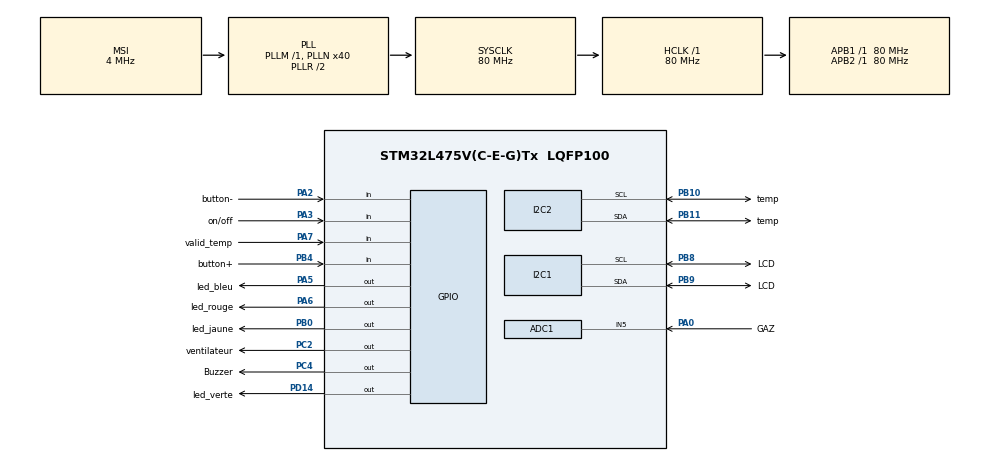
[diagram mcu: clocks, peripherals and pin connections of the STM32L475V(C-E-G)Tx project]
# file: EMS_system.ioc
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ADC1.Channel-0\#ChannelRegularConversion=ADC_CHANNEL_5
ADC1.NbrOfConversionFlag=1
ADC1.OffsetNumber-0\#ChannelRegularConversion=ADC_OFFSET_NONE
ADC1.Rank-0\#ChannelRegularConversion=1
ADC1.SamplingTime-0\#ChannelRegularConversion=ADC_SAMPLETIME_2CYCLES_5
ADC1.master=1
I2C1.Timing=0x10D19CE4
I2C2.Timing=0x10D19CE4
Mcu.Family=STM32L4
Mcu.Name=STM32L475V(C-E-G)Tx
Mcu.Package=LQFP100
NVIC.PriorityGroup=NVIC_PRIORITYGROUP_4
PA0.GPIO_Label=GAZ
PA0.Signal=ADCx_IN5
PA2.GPIO_Label=button-
PA2.GPIO_PuPd=GPIO_PULLUP
PA2.Signal=GPIO_Input
PA3.GPIO_Label=on/off
PA3.GPIO_PuPd=GPIO_PULLUP
PA3.Signal=GPIO_Input
PA5.GPIO_Label=led_bleu
PA5.Signal=GPIO_Output
PA6.GPIO_Label=led_rouge
PA6.Signal=GPIO_Output
PA7.GPIO_Label=valid_temp
PA7.GPIO_PuPd=GPIO_PULLUP
PA7.Signal=GPIO_Input
PB0.GPIO_Label=led_jaune
PB0.Signal=GPIO_Output
PB10.GPIO_Label=temp
PB10.Mode=I2C
PB10.Signal=I2C2_SCL
PB11.GPIO_Label=temp
PB11.Mode=I2C
PB11.Signal=I2C2_SDA
PB4\ (NJTRST).GPIO_Label=button+
PB4\ (NJTRST).GPIO_PuPd=GPIO_PULLUP
PB4\ (NJTRST).Signal=GPIO_Input
PB8.GPIO_Label=LCD
PB8.Mode=I2C
PB8.Signal=I2C1_SCL
PB9.GPIO_Label=LCD
PB9.Mode=I2C
PB9.Signal=I2C1_SDA
PC2.GPIO_Label=ventilateur
PC2.Signal=GPIO_Output
PC4.GPIO_Label=Buzzer
PC4.Signal=GPIO_Output
PD14.GPIO_Label=led_verte
PD14.Signal=GPIO_Output
ProjectManager.HeapSize=0x200
ProjectManager.StackSize=0x400
ProjectManager.TargetToolchain=STM32CubeIDE
RCC.ADCFreq_Value=48000000
RCC.AHBFreq_Value=80000000
RCC.APB1Freq_Value=80000000
RCC.APB1TimFreq_Value=80000000
RCC.APB2Freq_Value=80000000
RCC.APB2TimFreq_Value=80000000
RCC.CortexFreq_Value=80000000
RCC.HCLKFreq_Value=80000000
RCC.HSE_VALUE=8000000
RCC.HSI_VALUE=16000000
RCC.LSE_VALUE=32768
RCC.MSI_VALUE=4000000
RCC.PLLN=40
RCC.PLLSAI1N=24
RCC.SYSCLKFreq_VALUE=80000000
RCC.SYSCLKSource=RCC_SYSCLKSOURCE_PLLCLK
RCC.USBFreq_Value=48000000
RCC.VCOOutputFreq_Value=160000000
SH.ADCx_IN5.0=ADC1_IN5,IN5-Single-Ended
board=B-L475E-IOT01A1

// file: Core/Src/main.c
/* USER CODE BEGIN Header */
/**
  ******************************************************************************
  * @file           : main.c
  * @brief          : Smart House (Boutons + LCD + Capteurs)
  *
  * Fonctionnement :
  *  - ON/OFF : démarre/arrête le système
  *  - Au démarrage : "Bonjour / Smart House" (2s) puis affichage mesures (2s)
  *  - Réglage seuil Température (avec + / -) puis OK
  *  - Réglage seuil Gaz (avec + / -) puis OK
  *  - Mode normal : affiche T, G et le seuil température en haut
  *  - Alarmes : Temp / Gaz / Temp+Gaz avec LEDs, buzzer, ventilateur
  *
  * Particularités ajoutées :
  *  - Anti-rebond NON bloquant (sans HAL_Delay)
  *  - Ajustement du seuil température "à chaud" en ST_NORMAL, ST_TEMP_ALARM, ST_BOTH_ALARM
  *  - Limite du seuil température : 0..60°C
  ******************************************************************************
  */
/* USER CODE END Header */

#include "main.h"

/* USER CODE BEGIN Includes */
#include "i2c_lcd.h"
#include <stdio.h>
#include <math.h>
#include <string.h>
/* USER CODE END Includes */

ADC_HandleTypeDef hadc1;
I2C_HandleTypeDef hi2c1;
I2C_HandleTypeDef hi2c2;

/* USER CODE BEGIN PV */

/* ===================== 1) ETATS / LOGIQUE ===================== */

/* Machine d'états du système */
typedef enum {
  ST_OFF = 0,       // Système éteint
  ST_BOOT_MSG,      // Message "Bonjour / Smart House" (2s)
  ST_SHOW_MEAS,     // Affichage mesures (2s)
  ST_SET_TEMP,      // Réglage seuil température
  ST_SET_GAS,       // Réglage seuil gaz
  ST_NORMAL,        // Fonctionnement normal
  ST_TEMP_ALARM,    // Alarme température
  ST_GAS_ALARM,     // Alarme gaz
  ST_BOTH_ALARM     // Alarme combinée temp + gaz
} AppState;

/* Etat courant et précédent (utile si plus tard tu veux envoyer des events UART, log, etc.) */
static AppState state      = ST_OFF;
static AppState prev_state = ST_OFF;

/* drapeau ON/OFF global */
static uint8_t system_on = 0;

/* ===================== 2) BOUTONS ===================== */
/*
   Boutons physiques (Pull-up activé) :
   - Niveau = 1 : non appuyé
   - Niveau = 0 : appuyé
*/
static uint8_t last_btn   = 1;  // dernier niveau ON/OFF
static uint8_t last_plus  = 1;  // dernier niveau +
static uint8_t last_minus = 1;  // dernier niveau -
static uint8_t last_ok    = 1;  // dernier niveau OK

/* Anti-rebond non bloquant : "prochaine date autorisée" pour accepter un nouvel appui */
static uint32_t next_on_ms    = 0;
static uint32_t next_plus_ms  = 0;
static uint32_t next_minus_ms = 0;
static uint32_t next_ok_ms    = 0;

/* Durées anti-rebond (ms) */
#define DEB_ON_MS     250u
#define DEB_PLUS_MS   120u
#define DEB_MINUS_MS  120u
#define DEB_OK_MS     150u

/* ===================== 3) SEUILS / MESURES ===================== */

/* Seuils */
static int16_t  temp_seuil = 32;   // seuil température (°C) modifiable
static uint16_t gaz_seuil  = 150;  // seuil gaz (ADC) modifiable (à calibrer)

/* Limites du seuil température */
#define TEMP_SEUIL_MIN  0
#define TEMP_SEUIL_MAX  60

/* Mesures capteurs */
static float    tempC        = 0.0f;  // température en °C (float)
static int16_t  temp_mesuree = 0;     // température arrondie (int)
static uint16_t gaz_adc      = 0;     // valeur ADC MQ-2
static uint8_t  gaz_detecte  = 0;     // 1 si gaz détecté, 0 sinon (avec hystérésis)

/* Hystérésis température :
   - pour éviter oscillations autour du seuil */
#define TEMP_HYST_ON   0.2f
#define TEMP_HYST_OFF  0.2f

/* Hystérésis gaz autour du seuil ADC */
#define GAS_HYST       30u

/* ===================== 4) TIMING ===================== */
static uint32_t last_sense_ms = 0;  // dernière lecture capteurs
static uint32_t state_t0_ms   = 0;  // début d’un état (pour les 2s)

/* ===================== 5) BUZZER ===================== */
/* Buzzer non-bloquant : on l’allume et on planifie une extinction */
static uint8_t  buzzer_done      = 0;  // évite de relancer le beep plusieurs fois
static uint8_t  buzzer_active    = 0;  // buzzer actuellement ON ?
static uint32_t buzzer_until_ms  = 0;  // date d’extinction buzzer

/* ===================== 6) LCD ANTI-FLICKER ===================== */
/* Cache des deux lignes (16 chars) pour éviter de ré-écrire si c’est identique */
static char lcd_l0_last[17] = {0};
static char lcd_l1_last[17] = {0};

/* USER CODE END PV */

void SystemClock_Config(void);
static void MX_GPIO_Init(void);
static void MX_I2C2_Init(void);
static void MX_ADC1_Init(void);
static void MX_I2C1_Init(void);

/* USER CODE BEGIN 0 */

/* ============================================================
   A) BOUTONS : Détection d’un appui (front descendant)
   + Anti-rebond non bloquant via HAL_GetTick()
   ------------------------------------------------------------
   last     : dernier niveau lu (0/1)
   now_lvl  : niveau actuel lu (0/1)
   next_ms  : prochaine date (ms) où un appui sera accepté
   deb_ms   : durée anti-rebond
   Retour   : 1 si nouvel appui détecté, 0 sinon
   ============================================================ */
static uint8_t Btn_FallingEdge(uint8_t *last, uint8_t now_lvl,
                               uint32_t *next_ms, uint32_t deb_ms)
{
  uint32_t now = HAL_GetTick();
  uint8_t pressed = 0;

  if (now >= *next_ms) {
    if ((*last == 1u) && (now_lvl == 0u)) {
      pressed = 1u;
      *next_ms = now + deb_ms; // bloque les nouveaux appuis pendant deb_ms
    }
  }

  *last = now_lvl;
  return pressed;
}

/* ============================================================
   B) LCD : affichage sans flicker
   - on compare avec cache (lcd_l0_last / lcd_l1_last)
   - si même texte => on n'écrit pas
   ============================================================ */
static void LCD_PrintLine(uint8_t row, const char *s16)
{
  char buf[17];
  snprintf(buf, sizeof(buf), "%-16s", s16); // pad à 16 chars

  if (row == 0) {
    if (strncmp(buf, lcd_l0_last, 16) == 0) return;
    memcpy(lcd_l0_last, buf, 16); lcd_l0_last[16] = 0;
  } else {
    if (strncmp(buf, lcd_l1_last, 16) == 0) return;
    memcpy(lcd_l1_last, buf, 16); lcd_l1_last[16] = 0;
  }

  LCD_SetCursor(row, 0);
  LCD_Print(buf);
}

static void LCD_ClearCache(void)
{
  memset(lcd_l0_last, 0, sizeof(lcd_l0_last));
  memset(lcd_l1_last, 0, sizeof(lcd_l1_last));
  LCD_Clear();
}

/* ============================================================
   C) BUZZER : beep non bloquant
   ============================================================ */
static void Buzzer_Beep(uint32_t ms)
{
  HAL_GPIO_WritePin(Buzzer_GPIO_Port, Buzzer_Pin, GPIO_PIN_SET);
  buzzer_active   = 1;
  buzzer_until_ms = HAL_GetTick() + ms;
}

static void Buzzer_Task(void)
{
  if (buzzer_active && (HAL_GetTick() >= buzzer_until_ms)) {
    HAL_GPIO_WritePin(Buzzer_GPIO_Port, Buzzer_Pin, GPIO_PIN_RESET);
    buzzer_active = 0;
  }
}

/* ============================================================
   D) CAPTEUR HTS221 : lecture température (I2C2)
   ============================================================ */
#define HTS221_ADDR_7BIT   (0x5F)
#define HTS221_ADDR_8BIT   (HTS221_ADDR_7BIT << 1)

static uint8_t hts221_read8(I2C_HandleTypeDef *hi2c, uint8_t reg)
{
  uint8_t v = 0;
  (void)HAL_I2C_Mem_Read(hi2c, HTS221_ADDR_8BIT, reg, I2C_MEMADD_SIZE_8BIT, &v, 1, 100);
  return v;
}

static void hts221_write8(I2C_HandleTypeDef *hi2c, uint8_t reg, uint8_t val)
{
  (void)HAL_I2C_Mem_Write(hi2c, HTS221_ADDR_8BIT, reg, I2C_MEMADD_SIZE_8BIT, &val, 1, 100);
}

static void hts221_power_on(I2C_HandleTypeDef *hi2c)
{
  hts221_write8(hi2c, 0x20, 0x81); // CTRL_REG1: PD=1, ODR=1Hz
}

static float hts221_get_tempC(I2C_HandleTypeDef *hi2c)
{
  /* Calibration T0/T1 (datasheet) */
  uint8_t t0_x8  = hts221_read8(hi2c, 0x32);
  uint8_t t1_x8  = hts221_read8(hi2c, 0x33);
  uint8_t msb    = hts221_read8(hi2c, 0x35);

  uint16_t T0_x8 = (uint16_t)(t0_x8 | ((msb & 0x03) << 8));
  uint16_t T1_x8 = (uint16_t)(t1_x8 | ((msb & 0x0C) << 6));

  float T0 = (float)T0_x8 / 8.0f;
  float T1 = (float)T1_x8 / 8.0f;

  int16_t T0_OUT = (int16_t)((uint16_t)hts221_read8(hi2c, 0x3C) | ((uint16_t)hts221_read8(hi2c, 0x3D) << 8));
  int16_t T1_OUT = (int16_t)((uint16_t)hts221_read8(hi2c, 0x3E) | ((uint16_t)hts221_read8(hi2c, 0x3F) << 8));
  int16_t T_OUT  = (int16_t)((uint16_t)hts221_read8(hi2c, 0x2A) | ((uint16_t)hts221_read8(hi2c, 0x2B) << 8));

  if (T1_OUT == T0_OUT) return T0;
  return T0 + ((float)(T_OUT - T0_OUT)) * (T1 - T0) / (float)(T1_OUT - T0_OUT);
}

/* ============================================================
   E) MQ-2 : lecture ADC1
   ============================================================ */
static uint16_t MQ2_ReadADC(void)
{
  HAL_ADC_Start(&hadc1);
  HAL_ADC_PollForConversion(&hadc1, 20);
  uint16_t v = (uint16_t)HAL_ADC_GetValue(&hadc1);
  HAL_ADC_Stop(&hadc1);
  return v;
}

/* ============================================================
   F) Lecture capteurs périodique (toutes les 50ms)
   - met à jour tempC, temp_mesuree, gaz_adc, gaz_detecte
   ============================================================ */
static void Sensors_Task(void)
{
  if (!system_on) return;

  if (HAL_GetTick() - last_sense_ms >= 50u) {
    last_sense_ms = HAL_GetTick();

    tempC = hts221_get_tempC(&hi2c2);
    temp_mesuree = (int16_t)lroundf(tempC);

    gaz_adc = MQ2_ReadADC();

    /* Hystérésis gaz pour éviter oscillations */
    uint16_t th_on  = (uint16_t)(gaz_seuil + GAS_HYST);
    uint16_t th_off = (gaz_seuil > GAS_HYST) ? (uint16_t)(gaz_seuil - GAS_HYST) : 0u;

    if (!gaz_detecte && (gaz_adc >= th_on)) gaz_detecte = 1;
    else if (gaz_detecte && (gaz_adc <= th_off)) gaz_detecte = 0;
  }
}

/* ============================================================
   G) Format affichage température (xx.xx) sans float printf
   ============================================================ */
static void FormatTemp2Dec(char out16[17], float t)
{
  int t100 = (int)lroundf(t * 100.0f);
  int sign = 0;
  if (t100 < 0) { sign = 1; t100 = -t100; }

  int whole = t100 / 100;
  int frac  = t100 % 100;

  if (sign) snprintf(out16, 17, "-%d.%02d", whole, frac);
  else      snprintf(out16, 17, "%d.%02d", whole, frac);
}

/* USER CODE END 0 */

int main(void)
{
  HAL_Init();
  SystemClock_Config();

  MX_GPIO_Init();
  MX_I2C2_Init();
  MX_ADC1_Init();
  MX_I2C1_Init();

  /* USER CODE BEGIN 2 */
  LCD_Init(&hi2c1, 0x27);
  hts221_power_on(&hi2c2);

  /* Etat initial : OFF */
  LCD_ClearCache();
  LCD_PrintLine(0, "System OFF");
  LCD_PrintLine(1, "Press ON/OFF");

  /* Synchroniser les boutons pour éviter un faux appui au démarrage */
  last_btn   = HAL_GPIO_ReadPin(GPIOA, GPIO_PIN_3);
  last_plus  = HAL_GPIO_ReadPin(GPIOB, GPIO_PIN_4);
  last_minus = HAL_GPIO_ReadPin(GPIOA, GPIO_PIN_2);
  last_ok    = HAL_GPIO_ReadPin(GPIOA, GPIO_PIN_7);

  /* Interdire les appuis pendant une courte période après boot */
  uint32_t now0 = HAL_GetTick();
  next_on_ms    = now0 + DEB_ON_MS;
  next_plus_ms  = now0 + DEB_PLUS_MS;
  next_minus_ms = now0 + DEB_MINUS_MS;
  next_ok_ms    = now0 + DEB_OK_MS;
  /* USER CODE END 2 */

  while (1)
  {
    /* USER CODE BEGIN 3 */

    /* 1) tâches périodiques */
    Sensors_Task();
    Buzzer_Task();

    /* 2) lecture niveau boutons */
    uint8_t btn_on    = HAL_GPIO_ReadPin(GPIOA, GPIO_PIN_3);
    uint8_t btn_plus  = HAL_GPIO_ReadPin(GPIOB, GPIO_PIN_4);
    uint8_t btn_minus = HAL_GPIO_ReadPin(GPIOA, GPIO_PIN_2);
    uint8_t btn_ok    = HAL_GPIO_ReadPin(GPIOA, GPIO_PIN_7);

    /* 3) transformer en évènements (appui) */
    uint8_t ev_on    = Btn_FallingEdge(&last_btn,   btn_on,    &next_on_ms,    DEB_ON_MS);
    uint8_t ev_plus  = Btn_FallingEdge(&last_plus,  btn_plus,  &next_plus_ms,  DEB_PLUS_MS);
    uint8_t ev_minus = Btn_FallingEdge(&last_minus, btn_minus, &next_minus_ms, DEB_MINUS_MS);
    uint8_t ev_ok    = Btn_FallingEdge(&last_ok,    btn_ok,    &next_ok_ms,    DEB_OK_MS);

    /* ==================== ON/OFF ==================== */
    if (ev_on)
    {
      system_on = !system_on;

      if (!system_on)
      {
        /* Passage OFF : couper tout */
        state = ST_OFF;
        buzzer_done = 0;
        buzzer_active = 0;
        HAL_GPIO_WritePin(Buzzer_GPIO_Port, Buzzer_Pin, GPIO_PIN_RESET);

        HAL_GPIO_WritePin(led_verte_GPIO_Port, led_verte_Pin, GPIO_PIN_RESET);
        HAL_GPIO_WritePin(led_jaune_GPIO_Port, led_jaune_Pin, GPIO_PIN_RESET);
        HAL_GPIO_WritePin(led_rouge_GPIO_Port, led_rouge_Pin, GPIO_PIN_RESET);
        HAL_GPIO_WritePin(led_bleu_GPIO_Port, led_bleu_Pin, GPIO_PIN_RESET);
        HAL_GPIO_WritePin(ventilateur_GPIO_Port, ventilateur_Pin, GPIO_PIN_RESET);

        LCD_ClearCache();
        LCD_PrintLine(0, "System OFF");
        LCD_PrintLine(1, "Press ON/OFF");
      }
      else
      {
        /* Passage ON : message boot */
        state = ST_BOOT_MSG;
        state_t0_ms = HAL_GetTick();
        buzzer_done = 0;

        LCD_ClearCache();
        LCD_PrintLine(0, "Bonjour");
        LCD_PrintLine(1, "EMS_SYSTEM");
      }
    }

    /* ==================== MACHINE D’ETATS ==================== */
    prev_state = state;

    if (state == ST_OFF)
    {
      /* rien */
    }

    else if (state == ST_BOOT_MSG)
    {
      if (HAL_GetTick() - state_t0_ms >= 2000u) {
        state = ST_SHOW_MEAS;
        state_t0_ms = HAL_GetTick();
        LCD_ClearCache();
      }
    }

    else if (state == ST_SHOW_MEAS)
    {
      char t[17], l0[17], l1[17];
      FormatTemp2Dec(t, tempC);
      snprintf(l0, sizeof(l0), "Temp:%s C", t);
      snprintf(l1, sizeof(l1), "Gaz:%4u", gaz_adc);
      LCD_PrintLine(0, l0);
      LCD_PrintLine(1, l1);

      if (HAL_GetTick() - state_t0_ms >= 2000u) {
        state = ST_SET_TEMP;
        LCD_ClearCache();
      }
    }

    else if (state == ST_SET_TEMP)
    {
      char t[17], l1[17];
      FormatTemp2Dec(t, tempC);

      LCD_PrintLine(0, "Seuil TEMP (C)");
      snprintf(l1, sizeof(l1), "M:%s S:%2d", t, (int)temp_seuil);
      LCD_PrintLine(1, l1);

      /* +/- change le seuil température */
      if (ev_plus)  { if (temp_seuil < TEMP_SEUIL_MAX) temp_seuil++; }
      if (ev_minus) { if (temp_seuil > TEMP_SEUIL_MIN) temp_seuil--; }

      /* OK -> réglage gaz */
      if (ev_ok) {
        state = ST_SET_GAS;
        LCD_ClearCache();
      }
    }

    else if (state == ST_SET_GAS)
    {
      char l1[17];
      LCD_PrintLine(0, "Seuil GAZ (ADC)");
      snprintf(l1, sizeof(l1), "M:%4u S:%4u", gaz_adc, gaz_seuil);
      LCD_PrintLine(1, l1);

      /* +/- change le seuil gaz */
      if (ev_plus)  { if (gaz_seuil < 4095u - 10u) gaz_seuil += 10u; else gaz_seuil = 4095u; }
      if (ev_minus) { if (gaz_seuil >= 10u)        gaz_seuil -= 10u; else gaz_seuil = 0u;      }

      /* OK -> mode normal */
      if (ev_ok) {
        state = ST_NORMAL;
        buzzer_done = 0;
        LCD_ClearCache();
      }
    }

    else if (state == ST_NORMAL)
    {
      /* ✅ ajuster seuil température à chaud */
      if (ev_plus)  { if (temp_seuil < TEMP_SEUIL_MAX) temp_seuil++; }
      if (ev_minus) { if (temp_seuil > TEMP_SEUIL_MIN) temp_seuil--; }

      /* Affichage normal : ligne0 montre le seuil */
      char t[17], l0[17], l1[17];
      FormatTemp2Dec(t, tempC);

      snprintf(l0, sizeof(l0), "F normal|S=%2d", (int)temp_seuil);
      snprintf(l1, sizeof(l1), "T=%s G=%4u", t, gaz_adc);
      LCD_PrintLine(0, l0);
      LCD_PrintLine(1, l1);

      /* Sorties normal */
      HAL_GPIO_WritePin(led_verte_GPIO_Port, led_verte_Pin, GPIO_PIN_SET);
      HAL_GPIO_WritePin(led_jaune_GPIO_Port, led_jaune_Pin, GPIO_PIN_RESET);
      HAL_GPIO_WritePin(led_rouge_GPIO_Port, led_rouge_Pin, GPIO_PIN_RESET);
      HAL_GPIO_WritePin(led_bleu_GPIO_Port, led_bleu_Pin, GPIO_PIN_RESET);
      HAL_GPIO_WritePin(ventilateur_GPIO_Port, ventilateur_Pin, GPIO_PIN_RESET);

      /* Passage en alarmes selon conditions */
      uint8_t temp_high = (tempC > ((float)temp_seuil + TEMP_HYST_ON)) ? 1u : 0u;

      if (gaz_detecte && temp_high)      { state = ST_BOTH_ALARM; buzzer_done = 0; LCD_ClearCache(); }
      else if (gaz_detecte)              { state = ST_GAS_ALARM;  buzzer_done = 0; LCD_ClearCache(); }
      else if (temp_high)                { state = ST_TEMP_ALARM; buzzer_done = 0; LCD_ClearCache(); }
    }

    else if (state == ST_TEMP_ALARM)
    {
      /* ✅ ajuster seuil température à chaud même en alarme */
      if (ev_plus)  { if (temp_seuil < TEMP_SEUIL_MAX) temp_seuil++; }
      if (ev_minus) { if (temp_seuil > TEMP_SEUIL_MIN) temp_seuil--; }

      /* Sorties alarme temp */
      HAL_GPIO_WritePin(led_verte_GPIO_Port, led_verte_Pin, GPIO_PIN_RESET);
      HAL_GPIO_WritePin(led_jaune_GPIO_Port, led_jaune_Pin, GPIO_PIN_SET);
      HAL_GPIO_WritePin(led_rouge_GPIO_Port, led_rouge_Pin, GPIO_PIN_RESET);
      HAL_GPIO_WritePin(led_bleu_GPIO_Port, led_bleu_Pin, GPIO_PIN_RESET);
      HAL_GPIO_WritePin(ventilateur_GPIO_Port, ventilateur_Pin, GPIO_PIN_RESET);

      /* LCD */
      char l1[17];
      LCD_PrintLine(0, "Temp > seuil");
      snprintf(l1, sizeof(l1), "T=%2d S=%2d", (int)temp_mesuree, (int)temp_seuil);
      LCD_PrintLine(1, l1);

      /* Buzzer 2s une seule fois */
      if (!buzzer_done) { Buzzer_Beep(2000u); buzzer_done = 1; }

      /* Si gaz arrive => alarme combinée */
      if (gaz_detecte) { state = ST_BOTH_ALARM; buzzer_done = 0; LCD_ClearCache(); }

      /* Retour normal si temp redescend */
      if (tempC <= ((float)temp_seuil - TEMP_HYST_OFF) && !gaz_detecte) {
        state = ST_NORMAL; buzzer_done = 0; LCD_ClearCache();
      }
    }

    else if (state == ST_GAS_ALARM)
    {
      /* Sorties alarme gaz */
      HAL_GPIO_WritePin(led_verte_GPIO_Port, led_verte_Pin, GPIO_PIN_RESET);
      HAL_GPIO_WritePin(led_jaune_GPIO_Port, led_jaune_Pin, GPIO_PIN_RESET);
      HAL_GPIO_WritePin(led_rouge_GPIO_Port, led_rouge_Pin, GPIO_PIN_SET);
      HAL_GPIO_WritePin(led_bleu_GPIO_Port, led_bleu_Pin, GPIO_PIN_RESET);
      HAL_GPIO_WritePin(ventilateur_GPIO_Port, ventilateur_Pin, GPIO_PIN_SET);

      /* LCD */
      char l1[17];
      LCD_PrintLine(0, "Detection gaz");
      snprintf(l1, sizeof(l1), "ADC=%4u S=%4u", gaz_adc, gaz_seuil);
      LCD_PrintLine(1, l1);

      if (!buzzer_done) { Buzzer_Beep(2000u); buzzer_done = 1; }

      /* Si temp devient haute => alarme combinée */
      if (tempC > ((float)temp_seuil + TEMP_HYST_ON)) {
        state = ST_BOTH_ALARM; buzzer_done = 0; LCD_ClearCache();
      }

      /* Retour normal si gaz disparaît */
      if (!gaz_detecte) {
        HAL_GPIO_WritePin(ventilateur_GPIO_Port, ventilateur_Pin, GPIO_PIN_RESET);
        state = ST_NORMAL; buzzer_done = 0; LCD_ClearCache();
      }
    }

    else if (state == ST_BOTH_ALARM)
    {
      /* ✅ ajuster seuil température à chaud */
      if (ev_plus)  { if (temp_seuil < TEMP_SEUIL_MAX) temp_seuil++; }
      if (ev_minus) { if (temp_seuil > TEMP_SEUIL_MIN) temp_seuil--; }

      /* Sorties combinées */
      HAL_GPIO_WritePin(led_verte_GPIO_Port, led_verte_Pin, GPIO_PIN_RESET);
      HAL_GPIO_WritePin(led_jaune_GPIO_Port, led_jaune_Pin, GPIO_PIN_RESET);
      HAL_GPIO_WritePin(led_rouge_GPIO_Port, led_rouge_Pin, GPIO_PIN_RESET);
      HAL_GPIO_WritePin(led_bleu_GPIO_Port, led_bleu_Pin, GPIO_PIN_SET);
      HAL_GPIO_WritePin(ventilateur_GPIO_Port, ventilateur_Pin, GPIO_PIN_SET);

      /* LCD */
      char l1[17];
      LCD_PrintLine(0, "Temp + Gaz !");
      snprintf(l1, sizeof(l1), "T=%2d G=%4u", (int)temp_mesuree, gaz_adc);
      LCD_PrintLine(1, l1);

      if (!buzzer_done) { Buzzer_Beep(2000u); buzzer_done = 1; }

      /* Gestion transitions */
      if (!gaz_detecte && (tempC > ((float)temp_seuil + TEMP_HYST_ON))) {
        state = ST_TEMP_ALARM; buzzer_done = 0; LCD_ClearCache();
      }
      else if (gaz_detecte && (tempC <= ((float)temp_seuil - TEMP_HYST_OFF))) {
        state = ST_GAS_ALARM;  buzzer_done = 0; LCD_ClearCache();
      }
      else if (!gaz_detecte && (tempC <= ((float)temp_seuil - TEMP_HYST_OFF))) {
        HAL_GPIO_WritePin(ventilateur_GPIO_Port, ventilateur_Pin, GPIO_PIN_RESET);
        state = ST_NORMAL; buzzer_done = 0; LCD_ClearCache();
      }
    }

    /* USER CODE END 3 */
  }
}

void SystemClock_Config(void)
{
  RCC_OscInitTypeDef RCC_OscInitStruct = {0};
  RCC_ClkInitTypeDef RCC_ClkInitStruct = {0};

  /** Configure the main internal regulator output voltage
  */
  if (HAL_PWREx_ControlVoltageScaling(PWR_REGULATOR_VOLTAGE_SCALE1) != HAL_OK)
  {
    Error_Handler();
  }

  /** Initializes the RCC Oscillators according to the specified parameters
  * in the RCC_OscInitTypeDef structure.
  */
  RCC_OscInitStruct.OscillatorType = RCC_OSCILLATORTYPE_MSI;
  RCC_OscInitStruct.MSIState = RCC_MSI_ON;
  RCC_OscInitStruct.MSICalibrationValue = 0;
  RCC_OscInitStruct.MSIClockRange = RCC_MSIRANGE_6;
  RCC_OscInitStruct.PLL.PLLState = RCC_PLL_ON;
  RCC_OscInitStruct.PLL.PLLSource = RCC_PLLSOURCE_MSI;
  RCC_OscInitStruct.PLL.PLLM = 1;
  RCC_OscInitStruct.PLL.PLLN = 40;
  RCC_OscInitStruct.PLL.PLLP = RCC_PLLP_DIV7;
  RCC_OscInitStruct.PLL.PLLQ = RCC_PLLQ_DIV2;
  RCC_OscInitStruct.PLL.PLLR = RCC_PLLR_DIV2;
  if (HAL_RCC_OscConfig(&RCC_OscInitStruct) != HAL_OK)
  {
    Error_Handler();
  }

  /** Initializes the CPU, AHB and APB buses clocks
  */
  RCC_ClkInitStruct.ClockType = RCC_CLOCKTYPE_HCLK|RCC_CLOCKTYPE_SYSCLK
                              |RCC_CLOCKTYPE_PCLK1|RCC_CLOCKTYPE_PCLK2;
  RCC_ClkInitStruct.SYSCLKSource = RCC_SYSCLKSOURCE_PLLCLK;
  RCC_ClkInitStruct.AHBCLKDivider = RCC_SYSCLK_DIV1;
  RCC_ClkInitStruct.APB1CLKDivider = RCC_HCLK_DIV1;
  RCC_ClkInitStruct.APB2CLKDivider = RCC_HCLK_DIV1;

  if (HAL_RCC_ClockConfig(&RCC_ClkInitStruct, FLASH_LATENCY_4) != HAL_OK)
  {
    Error_Handler();
  }
}

static void MX_ADC1_Init(void)
{

  ADC_MultiModeTypeDef multimode = {0};
  ADC_ChannelConfTypeDef sConfig = {0};

  /** Common config
  */
  hadc1.Instance = ADC1;
  hadc1.Init.ClockPrescaler = ADC_CLOCK_ASYNC_DIV1;
  hadc1.Init.Resolution = ADC_RESOLUTION_12B;
  hadc1.Init.DataAlign = ADC_DATAALIGN_RIGHT;
  hadc1.Init.ScanConvMode = ADC_SCAN_DISABLE;
  hadc1.Init.EOCSelection = ADC_EOC_SINGLE_CONV;
  hadc1.Init.LowPowerAutoWait = DISABLE;
  hadc1.Init.ContinuousConvMode = DISABLE;
  hadc1.Init.NbrOfConversion = 1;
  hadc1.Init.DiscontinuousConvMode = DISABLE;
  hadc1.Init.ExternalTrigConv = ADC_SOFTWARE_START;
  hadc1.Init.ExternalTrigConvEdge = ADC_EXTERNALTRIGCONVEDGE_NONE;
  hadc1.Init.DMAContinuousRequests = DISABLE;
  hadc1.Init.Overrun = ADC_OVR_DATA_PRESERVED;
  hadc1.Init.OversamplingMode = DISABLE;
  if (HAL_ADC_Init(&hadc1) != HAL_OK)
  {
    Error_Handler();
  }

  /** Configure the ADC multi-mode
  */
  multimode.Mode = ADC_MODE_INDEPENDENT;
  if (HAL_ADCEx_MultiModeConfigChannel(&hadc1, &multimode) != HAL_OK)
  {
    Error_Handler();
  }

  /** Configure Regular Channel
  */
  sConfig.Channel = ADC_CHANNEL_5;
  sConfig.Rank = ADC_REGULAR_RANK_1;
  sConfig.SamplingTime = ADC_SAMPLETIME_2CYCLES_5;
  sConfig.SingleDiff = ADC_SINGLE_ENDED;
  sConfig.OffsetNumber = ADC_OFFSET_NONE;
  sConfig.Offset = 0;
  if (HAL_ADC_ConfigChannel(&hadc1, &sConfig) != HAL_OK)
  {
    Error_Handler();
  }

}

static void MX_I2C1_Init(void)
{

  hi2c1.Instance = I2C1;
  hi2c1.Init.Timing = 0x10D19CE4;
  hi2c1.Init.OwnAddress1 = 0;
  hi2c1.Init.AddressingMode = I2C_ADDRESSINGMODE_7BIT;
  hi2c1.Init.DualAddressMode = I2C_DUALADDRESS_DISABLE;
  hi2c1.Init.OwnAddress2 = 0;
  hi2c1.Init.OwnAddress2Masks = I2C_OA2_NOMASK;
  hi2c1.Init.GeneralCallMode = I2C_GENERALCALL_DISABLE;
  hi2c1.Init.NoStretchMode = I2C_NOSTRETCH_DISABLE;
  if (HAL_I2C_Init(&hi2c1) != HAL_OK)
  {
    Error_Handler();
  }

  /** Configure Analogue filter
  */
  if (HAL_I2CEx_ConfigAnalogFilter(&hi2c1, I2C_ANALOGFILTER_ENABLE) != HAL_OK)
  {
    Error_Handler();
  }

  /** Configure Digital filter
  */
  if (HAL_I2CEx_ConfigDigitalFilter(&hi2c1, 0) != HAL_OK)
  {
    Error_Handler();
  }

}

static void MX_I2C2_Init(void)
{

  hi2c2.Instance = I2C2;
  hi2c2.Init.Timing = 0x10D19CE4;
  hi2c2.Init.OwnAddress1 = 0;
  hi2c2.Init.AddressingMode = I2C_ADDRESSINGMODE_7BIT;
  hi2c2.Init.DualAddressMode = I2C_DUALADDRESS_DISABLE;
  hi2c2.Init.OwnAddress2 = 0;
  hi2c2.Init.OwnAddress2Masks = I2C_OA2_NOMASK;
  hi2c2.Init.GeneralCallMode = I2C_GENERALCALL_DISABLE;
  hi2c2.Init.NoStretchMode = I2C_NOSTRETCH_DISABLE;
  if (HAL_I2C_Init(&hi2c2) != HAL_OK)
  {
    Error_Handler();
  }

  /** Configure Analogue filter
  */
  if (HAL_I2CEx_ConfigAnalogFilter(&hi2c2, I2C_ANALOGFILTER_ENABLE) != HAL_OK)
  {
    Error_Handler();
  }

  /** Configure Digital filter
  */
  if (HAL_I2CEx_ConfigDigitalFilter(&hi2c2, 0) != HAL_OK)
  {
    Error_Handler();
  }

}

static void MX_GPIO_Init(void)
{
  GPIO_InitTypeDef GPIO_InitStruct = {0};

  /* GPIO Ports Clock Enable */
  __HAL_RCC_GPIOC_CLK_ENABLE();
  __HAL_RCC_GPIOA_CLK_ENABLE();
  __HAL_RCC_GPIOB_CLK_ENABLE();
  __HAL_RCC_GPIOD_CLK_ENABLE();

  /*Configure GPIO pin Output Level */
  HAL_GPIO_WritePin(GPIOC, ventilateur_Pin|Buzzer_Pin, GPIO_PIN_RESET);

  /*Configure GPIO pin Output Level */
  HAL_GPIO_WritePin(GPIOA, led_bleu_Pin|led_rouge_Pin, GPIO_PIN_RESET);

  /*Configure GPIO pin Output Level */
  HAL_GPIO_WritePin(led_jaune_GPIO_Port, led_jaune_Pin, GPIO_PIN_RESET);

  /*Configure GPIO pin Output Level */
  HAL_GPIO_WritePin(led_verte_GPIO_Port, led_verte_Pin, GPIO_PIN_RESET);

  /*Configure GPIO pins : ventilateur_Pin Buzzer_Pin */
  GPIO_InitStruct.Pin = ventilateur_Pin|Buzzer_Pin;
  GPIO_InitStruct.Mode = GPIO_MODE_OUTPUT_PP;
  GPIO_InitStruct.Pull = GPIO_NOPULL;
  GPIO_InitStruct.Speed = GPIO_SPEED_FREQ_LOW;
  HAL_GPIO_Init(GPIOC, &GPIO_InitStruct);

  /*Configure GPIO pins : button__Pin on_off_Pin valid_temp_Pin */
  GPIO_InitStruct.Pin = button__Pin|on_off_Pin|valid_temp_Pin;
  GPIO_InitStruct.Mode = GPIO_MODE_INPUT;
  GPIO_InitStruct.Pull = GPIO_PULLUP;
  HAL_GPIO_Init(GPIOA, &GPIO_InitStruct);

  /*Configure GPIO pins : led_bleu_Pin led_rouge_Pin */
  GPIO_InitStruct.Pin = led_bleu_Pin|led_rouge_Pin;
  GPIO_InitStruct.Mode = GPIO_MODE_OUTPUT_PP;
  GPIO_InitStruct.Pull = GPIO_NOPULL;
  GPIO_InitStruct.Speed = GPIO_SPEED_FREQ_LOW;
  HAL_GPIO_Init(GPIOA, &GPIO_InitStruct);

  /*Configure GPIO pin : led_jaune_Pin */
  GPIO_InitStruct.Pin = led_jaune_Pin;
  GPIO_InitStruct.Mode = GPIO_MODE_OUTPUT_PP;
  GPIO_InitStruct.Pull = GPIO_NOPULL;
  GPIO_InitStruct.Speed = GPIO_SPEED_FREQ_LOW;
  HAL_GPIO_Init(led_jaune_GPIO_Port, &GPIO_InitStruct);

  /*Configure GPIO pin : led_verte_Pin */
  GPIO_InitStruct.Pin = led_verte_Pin;
  GPIO_InitStruct.Mode = GPIO_MODE_OUTPUT_PP;
  GPIO_InitStruct.Pull = GPIO_NOPULL;
  GPIO_InitStruct.Speed = GPIO_SPEED_FREQ_LOW;
  HAL_GPIO_Init(led_verte_GPIO_Port, &GPIO_InitStruct);

  /*Configure GPIO pin : button_B4_Pin */
  GPIO_InitStruct.Pin = button_B4_Pin;
  GPIO_InitStruct.Mode = GPIO_MODE_INPUT;
  GPIO_InitStruct.Pull = GPIO_PULLUP;
  HAL_GPIO_Init(button_B4_GPIO_Port, &GPIO_InitStruct);

}

void Error_Handler(void)
{
  __disable_irq();
  while (1)
  {
  }
}
